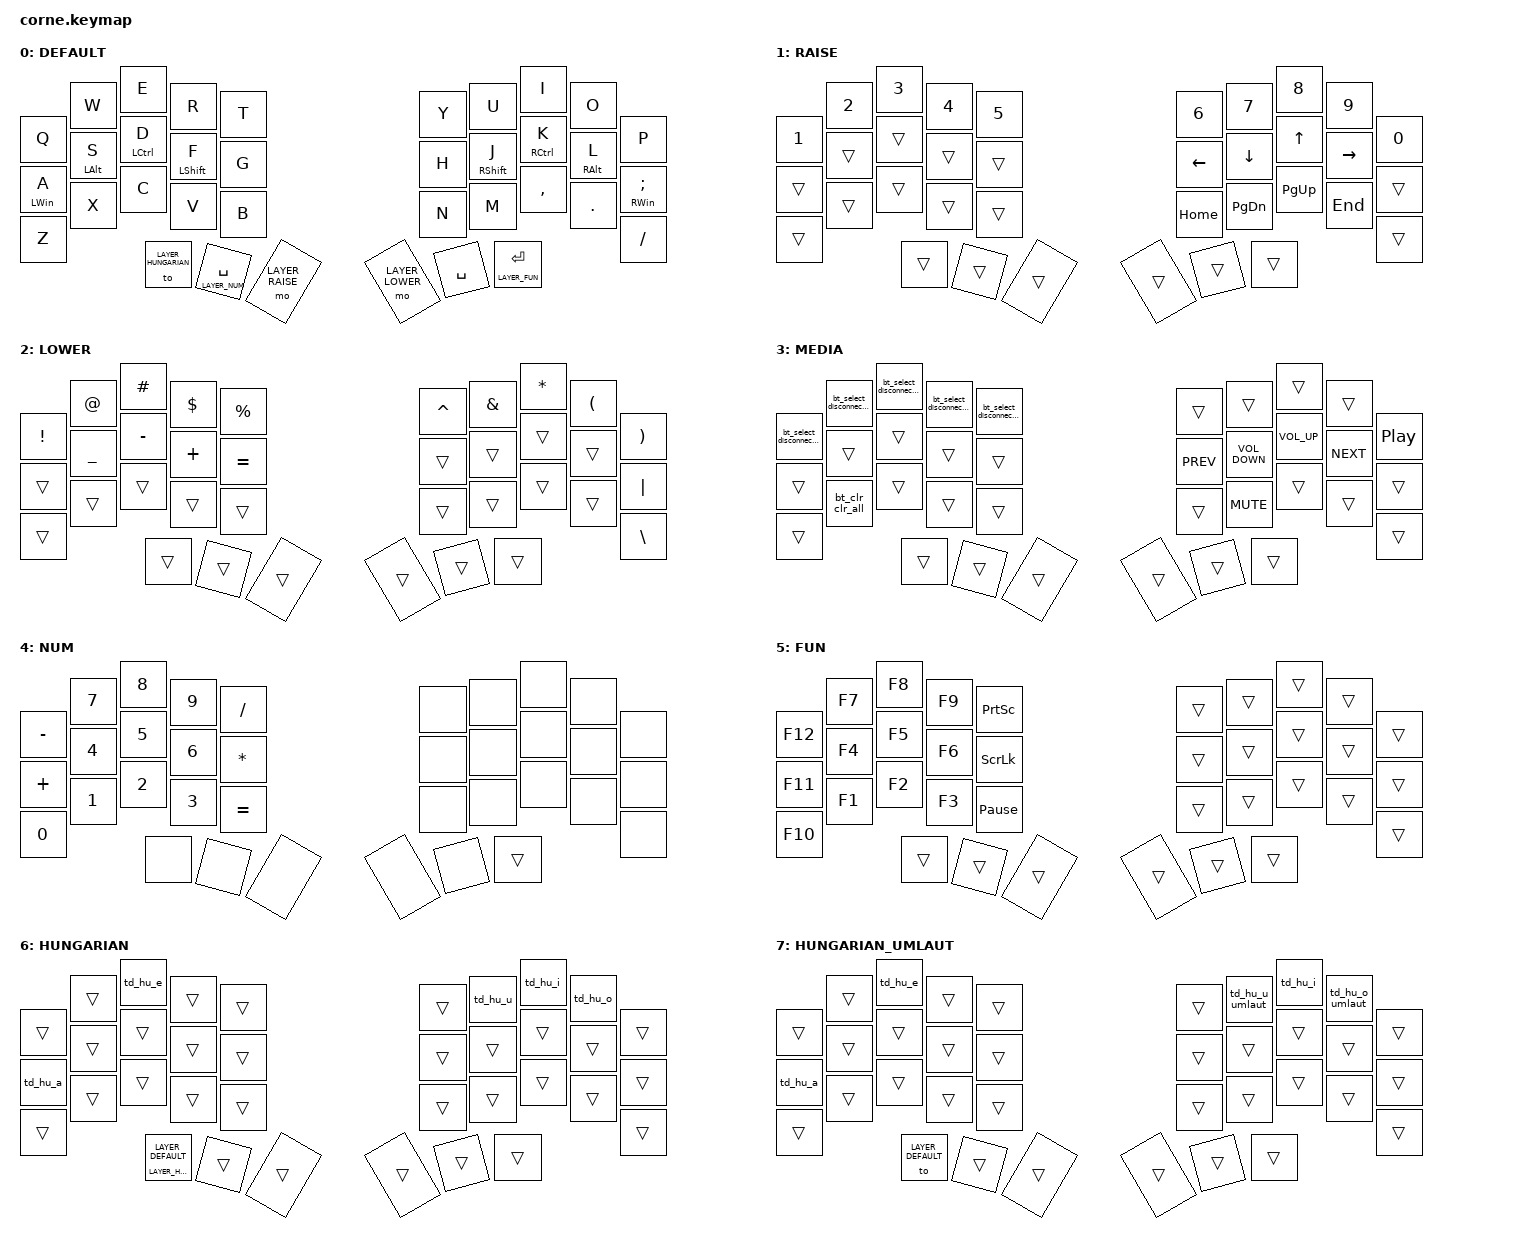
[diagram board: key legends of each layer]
/*
 * Copyright (c) 2020 The ZMK Contributors
 *
 * SPDX-License-Identifier: MIT
 */

#include <locale/keys_hu.h>
#include <behaviors.dtsi>
#include <dt-bindings/zmk/bt.h>
#include <dt-bindings/zmk/keys.h>
#define HU_I_ACUTE (ZMK_HID_USAGE(HID_USAGE_KEY, HID_USAGE_KEY_KEYBOARD_NON_US_BACKSLASH_AND_PIPE))

// Layer indices for readability
#define LAYER_DEFAULT 0
#define LAYER_RAISE 1
#define LAYER_LOWER 2
#define LAYER_MEDIA 3
#define LAYER_NUM 4
#define LAYER_FUN 5
#define LAYER_HUNGARIAN 6
#define LAYER_HUNGARIAN_UMLAUT 7

&mt { quick-tap-ms = <200>; };

&sk { quick-release; };

/ {
    /* Alias the Corne's layout to the generic split_3x5_3 name */
    split_3x5_3: &foostan_corne_5col_layout {};

    chosen {
        zmk,physical-layout = &split_3x5_3;
    };

    combos {
        compatible = "zmk,combos";

        backspace {
            bindings = <&kp BACKSPACE>;
            key-positions = <6 7>;
            slow-release;
            timeout-ms = <60>;
        };

        del {
            bindings = <&kp DEL>;
            key-positions = <7 8>;
            slow-release;
            timeout-ms = <60>;
        };

        enter {
            bindings = <&kp ENTER>;
            key-positions = <13 12>;
            slow-release;
            timeout-ms = <60>;
        };

        grave-escape {
            bindings = <&gresc>;
            key-positions = <12 11>;
            slow-release;
            timeout-ms = <60>;
        };

        tab {
            bindings = <&kp TAB>;
            key-positions = <2 1>;
            slow-release;
            timeout-ms = <60>;
        };

        tilde {
            bindings = <&kp TILDE>;
            key-positions = <10 11>;
            slow-release;
            timeout-ms = <60>;
        };

        quote {
            bindings = <&kp SINGLE_QUOTE>;
            key-positions = <18 19>;
            slow-release;
            timeout-ms = <60>;
        };

        open-square-bracket {
            bindings = <&kp LEFT_BRACKET>;
            key-positions = <26 27>;
            slow-release;
            timeout-ms = <60>;
        };

        close-square-bracket {
            bindings = <&kp RIGHT_BRACKET>;
            key-positions = <27 28>;
            slow-release;
            timeout-ms = <60>;
        };

        lpar_lt {
            bindings = <&lpar_lt>;
            key-positions = <16 17>;
            slow-release;
            timeout-ms = <60>;
        };

        rpar_gt {
            bindings = <&rpar_gt>;
            key-positions = <17 18>;
            slow-release;
            timeout-ms = <60>;
        };
    };

    behaviors {
        hold_tap_layer: hold_tap_layer {
            compatible = "zmk,behavior-hold-tap";
            label = "HOLD_TAP_LAYER";
            #binding-cells = <2>;
            bindings = <&mo>, <&to>;
            flavor = "hold-preferred";
            tapping-term-ms = <200>;
        };
        hold_tap_left: hold_tap_left {
            compatible = "zmk,behavior-hold-tap";
            label = "HOLD_TAP_LEFT";
            bindings = <&kp>, <&kp>;

            #binding-cells = <2>;
            tapping-term-ms = <280>;
            quick-tap-ms = <220>;
            require-prior-idle-ms = <150>;
            flavor = "balanced";
            hold-trigger-on-release;
            hold-trigger-key-positions = <29 19 5 6 7 8 15 16 17 18 25 26 27 28 9 34 35>;
        };

        hold_tap_right: hold_tap_right {
            compatible = "zmk,behavior-hold-tap";
            label = "HOLD_TAP_RIGHT";
            bindings = <&kp>, <&kp>;

            #binding-cells = <2>;
            tapping-term-ms = <280>;
            quick-tap-ms = <220>;
            require-prior-idle-ms = <150>;
            flavor = "balanced";
            hold-trigger-key-positions = <0 1 2 3 4 10 11 12 13 14 20 21 22 23 24 30 31>;
            hold-trigger-on-release;
        };

        lpar_lt: lpar_lt {
            compatible = "zmk,behavior-mod-morph";
            label = "LPAR_LT";
            bindings = <&kp LEFT_PARENTHESIS>, <&kp LESS_THAN>;

            #binding-cells = <0>;
            mods = <(MOD_LSFT)>;
        };

        rpar_gt: rpar_gt {
            compatible = "zmk,behavior-mod-morph";
            label = "RPAR_GT";
            bindings = <&kp RIGHT_PARENTHESIS>, <&kp GREATER_THAN>;

            #binding-cells = <0>;
            mods = <(MOD_LSFT)>;
        };

        bt_clr_clr_all: bt_clr_clr_all {
            compatible = "zmk,behavior-mod-morph";
            label = "BT_CLR_CLR_ALL";
            bindings = <&bt BT_CLR>, <&bt BT_CLR_ALL>;

            #binding-cells = <0>;
            mods = <(MOD_RSFT)>;
        };

        bt_select_disconnect_p0: bt_select_disconnect_p0 {
            compatible = "zmk,behavior-mod-morph";
            label = "BT_SELECT_DISCONNECT_P0";
            bindings = <&bt BT_SEL 0>, <&bt BT_DISC 0>;

            #binding-cells = <0>;
            mods = <(MOD_RSFT)>;
        };

        bt_select_disconnect_p1: bt_select_disconnect_p1 {
            compatible = "zmk,behavior-mod-morph";
            label = "BT_SELECT_DISCONNECT_P1";
            bindings = <&bt BT_SEL 1>, <&bt BT_DISC 1>;

            #binding-cells = <0>;
            mods = <(MOD_RSFT)>;
        };

        bt_select_disconnect_p2: bt_select_disconnect_p2 {
            compatible = "zmk,behavior-mod-morph";
            label = "BT_SELECT_DISCONNECT_P2";
            bindings = <&bt BT_SEL 2>, <&bt BT_DISC 2>;

            #binding-cells = <0>;
            mods = <(MOD_RSFT)>;
        };

        bt_select_disconnect_p3: bt_select_disconnect_p3 {
            compatible = "zmk,behavior-mod-morph";
            label = "BT_SELECT_DISCONNECT_P3";
            bindings = <&bt BT_SEL 3>, <&bt BT_DISC 3>;

            #binding-cells = <0>;
            mods = <(MOD_RSFT)>;
        };

        bt_select_disconnect_p4: bt_select_disconnect_p4 {
            compatible = "zmk,behavior-mod-morph";
            label = "BT_SELECT_DISCONNECT_P4";
            bindings = <&bt BT_SEL 4>, <&bt BT_DISC 4>;

            #binding-cells = <0>;
            mods = <(MOD_RSFT)>;
        };

        td_hu_a: td_hu_a {
            compatible = "zmk,behavior-tap-dance";
            label = "TD_HU_A";
            #binding-cells = <0>;
            tapping-term-ms = <240>;
            bindings = <&hold_tap_left LEFT_WIN A>, <&kp HU_A_ACUTE>;

        };

        td_hu_e: td_hu_e {
            compatible = "zmk,behavior-tap-dance";
            label = "TD_HU_E";
            #binding-cells = <0>;
            tapping-term-ms = <240>;
            bindings = <&kp E>, <&kp HU_E_ACUTE>;
        };

        td_hu_i: td_hu_i {
            compatible = "zmk,behavior-tap-dance";
            label = "TD_HU_I";
            #binding-cells = <0>;
            tapping-term-ms = <240>;
            bindings = <&kp I>, <&kp HU_I_ACUTE>;
        };

        td_hu_o: td_hu_o {
            compatible = "zmk,behavior-tap-dance";
            label = "TD_HU_O";
            #binding-cells = <0>;
            tapping-term-ms = <240>;
            bindings = <&kp O>, <&kp HU_O_ACUTE>, <&kp HU_O_UMLAUT>, <&kp HU_O_DOUBLE_ACUTE>;
        };

        td_hu_o_umlaut: td_hu_o_umlaut {
            compatible = "zmk,behavior-tap-dance";
            label = "TD_HU_O_UMLAUT";
            #binding-cells = <0>;
            tapping-term-ms = <240>;
            bindings = <&kp HU_O_UMLAUT>, <&kp HU_O_DOUBLE_ACUTE>;
        };

        td_hu_u: td_hu_u {
            compatible = "zmk,behavior-tap-dance";
            label = "TD_HU_U";
            #binding-cells = <0>;
            tapping-term-ms = <240>;
            bindings = <&kp U>, <&kp HU_U_ACUTE>, <&kp HU_U_UMLAUT>, <&kp HU_U_DOUBLE_ACUTE>;
        };

        td_hu_u_umlaut: td_hu_u_umlaut {
            compatible = "zmk,behavior-tap-dance";
            label = "TD_HU_U_UMLAUT";
            #binding-cells = <0>;
            tapping-term-ms = <240>;
            bindings = <&kp HU_U_UMLAUT>, <&kp HU_U_DOUBLE_ACUTE>;
        };
    };

    keymap {
        compatible = "zmk,keymap";

        default_layer {
            label = "DEFAULT";
            bindings = <
  &kp Q                      &kp W                      &kp E                          &kp R                        &kp T    &kp Y  &kp U                          &kp I                            &kp O                        &kp P
  &hold_tap_left LEFT_WIN A  &hold_tap_left LEFT_ALT S  &hold_tap_left LEFT_CONTROL D  &hold_tap_left LEFT_SHIFT F  &kp G    &kp H  &hold_tap_right RIGHT_SHIFT J  &hold_tap_right RIGHT_CONTROL K  &hold_tap_right RIGHT_ALT L  &hold_tap_right RIGHT_WIN SEMICOLON
  &kp Z                      &kp X                      &kp C                          &kp V                        &kp B    &kp N  &kp M                          &kp COMMA                        &kp DOT                      &kp FSLH
                                                        &to LAYER_HUNGARIAN                          &lt LAYER_NUM SPACE                  &mo LAYER_RAISE    &mo LAYER_LOWER  &kp SPACE                      &lt LAYER_FUN ENTER
            >;
        };

        raise_layer {
            label = "RAISE";
            bindings = <
  &kp N1  &kp N2  &kp N3  &kp N4  &kp N5    &kp N6    &kp N7     &kp N8     &kp N9     &kp N0
  &trans  &trans  &trans  &trans  &trans    &kp LEFT  &kp DOWN   &kp UP     &kp RIGHT  &trans
  &trans  &trans  &trans  &trans  &trans    &kp HOME  &kp PG_DN  &kp PG_UP  &kp END    &trans
                  &trans  &trans  &trans    &trans    &trans     &trans
            >;
        };

        lower_layer {
            label = "LOWER";
            bindings = <
  &kp EXCLAMATION  &kp AT_SIGN     &kp POUND  &kp DOLLAR  &kp PERCENT    &kp CARET  &kp AMPERSAND  &kp ASTERISK  &kp LEFT_PARENTHESIS  &kp RIGHT_PARENTHESIS
  &trans           &kp UNDERSCORE  &kp MINUS  &kp PLUS    &kp EQUAL      &trans     &trans         &trans        &trans                &kp PIPE
  &trans           &trans          &trans     &trans      &trans         &trans     &trans         &trans        &trans                &kp BACKSLASH
                                   &trans     &trans      &trans         &trans     &trans         &trans
            >;
        };

        media {
            label = "MEDIA";
            bindings = <
  &bt_select_disconnect_p0  &bt_select_disconnect_p1  &bt_select_disconnect_p2  &bt_select_disconnect_p3  &bt_select_disconnect_p4    &trans      &trans             &trans           &trans      &kp C_PP
  &trans                    &trans                    &trans                    &trans                    &trans                      &kp C_PREV  &kp C_VOLUME_DOWN  &kp C_VOLUME_UP  &kp C_NEXT  &trans
  &trans                    &bt_clr_clr_all           &trans                    &trans                    &trans                      &trans      &kp C_MUTE         &trans           &trans      &trans
                                                      &trans                    &trans                    &trans                      &trans      &trans             &trans
            >;
        };

        num_layer {
            label = "NUM";
            bindings = <
  &kp MINUS  &kp N7  &kp N8  &kp N9  &kp SLASH       &none  &none  &none   &none  &none
  &kp PLUS   &kp N4  &kp N5  &kp N6  &kp ASTERISK    &none  &none  &none   &none  &none
  &kp N0     &kp N1  &kp N2  &kp N3  &kp EQUAL       &none  &none  &none   &none  &none
                     &none   &none   &none           &none  &none  &trans
            >;
        };

        fun {
            label = "FUN";
            bindings = <
  &kp F12  &kp F7  &kp F8  &kp F9  &kp PRINTSCREEN    &trans  &trans  &trans  &trans  &trans
  &kp F11  &kp F4  &kp F5  &kp F6  &kp SCROLLLOCK     &trans  &trans  &trans  &trans  &trans
  &kp F10  &kp F1  &kp F2  &kp F3  &kp PAUSE_BREAK    &trans  &trans  &trans  &trans  &trans
                   &trans  &trans  &trans             &trans  &trans  &trans
            >;
        };

        hungarian {
            label = "HUNGARIAN";
            bindings = <
  &trans    &trans  &td_hu_e                &trans  &trans    &trans  &td_hu_u  &td_hu_i  &td_hu_o  &trans
  &td_hu_a  &trans  &trans                  &trans  &trans    &trans  &trans    &trans    &trans    &trans
  &trans    &trans  &trans                  &trans  &trans    &trans  &trans    &trans    &trans    &trans
                    &hold_tap_layer LAYER_HUNGARIAN_UMLAUT LAYER_DEFAULT     &trans  &trans    &trans  &trans    &trans
            >;
        };

        hungarian_umlaut {
            label = "HUNGARIAN_UMLAUT";
            bindings = <
  &trans    &trans  &td_hu_e  &trans  &trans    &trans  &td_hu_u_umlaut  &td_hu_i  &td_hu_o_umlaut  &trans
  &td_hu_a  &trans  &trans    &trans  &trans    &trans  &trans           &trans    &trans           &trans
  &trans    &trans  &trans    &trans  &trans    &trans  &trans           &trans    &trans           &trans
                    &to LAYER_DEFAULT     &trans  &trans    &trans  &trans           &trans
            >;
        };
    };

    conditional_layers {
        compatible = "zmk,conditional-layers";

        media_layer_activation {
            if-layers = <LAYER_RAISE LAYER_LOWER>;
            then-layer = <LAYER_MEDIA>;
        };
    };
};
